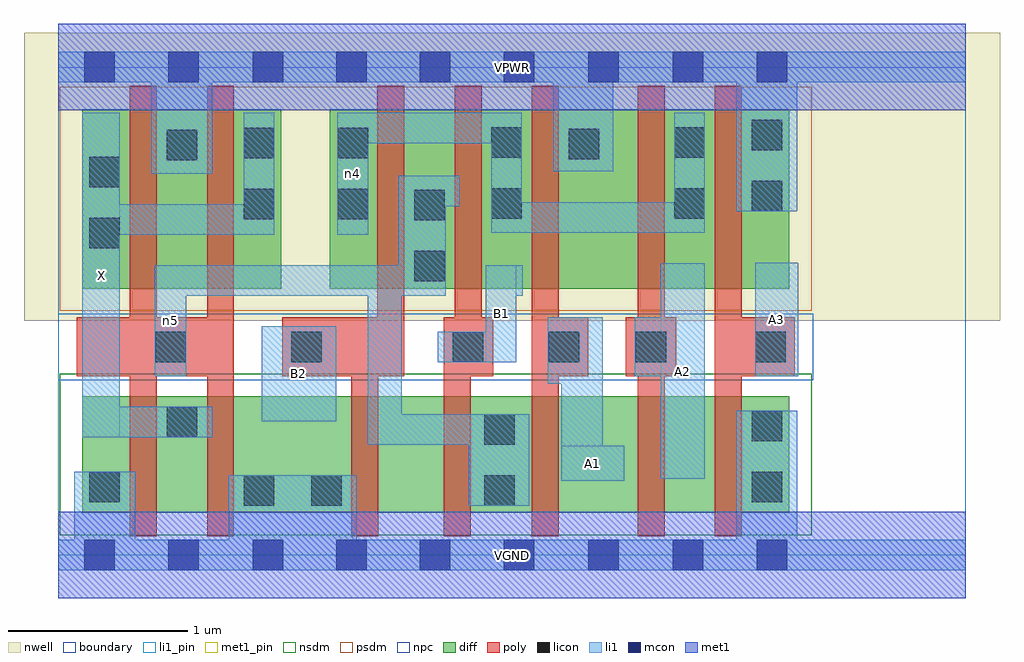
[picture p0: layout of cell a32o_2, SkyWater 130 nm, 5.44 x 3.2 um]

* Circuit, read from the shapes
.subckt a32o_2 A1 A2 A3 B1 B2 VGND VPWR X n4 n5
XM1 X n5 VGND VSUBS sky130_fd_pr__nfet_01v8 w=0.65 l=0.15 m=2
XM2 n1 B2 VGND VSUBS sky130_fd_pr__nfet_01v8 w=0.65 l=0.15
XM3 n5 B1 n1 VSUBS sky130_fd_pr__nfet_01v8 w=0.65 l=0.15
XM4 n2 A1 n5 VSUBS sky130_fd_pr__nfet_01v8 w=0.65 l=0.15
XM5 n3 A2 n2 VSUBS sky130_fd_pr__nfet_01v8 w=0.65 l=0.15
XM6 VGND A3 n3 VSUBS sky130_fd_pr__nfet_01v8 w=0.65 l=0.15
XM7 VPWR n5 X n6 sky130_fd_pr__pfet_01v8 w=1 l=0.15 m=2
XM8 n5 B2 n4 n6 sky130_fd_pr__pfet_01v8 w=1 l=0.15
XM9 n4 B1 n5 n6 sky130_fd_pr__pfet_01v8 w=1 l=0.15
XM10 VPWR A1 n4 n6 sky130_fd_pr__pfet_01v8 w=1 l=0.15
XM11 n4 A2 VPWR n6 sky130_fd_pr__pfet_01v8 w=1 l=0.15
XM12 VPWR A3 n4 n6 sky130_fd_pr__pfet_01v8 w=1 l=0.15
.ends

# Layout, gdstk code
import gdstk
lib = gdstk.Library(unit=1e-6, precision=1e-09)
def R(c, l, rs):  # rectangles x0, y0, x1, y1
    for r in rs: c.add(gdstk.rectangle(r[:2], r[2:], *l))
def A(c, l, x, y, w, h, nx, ny, dx, dy):  # array of equal rectangles
    R(c, l, [(x+i*dx, y+j*dy, x+i*dx+w, y+j*dy+h) for i in range(nx) for j in range(ny)])
nwell = (64, 20)
diff = (65, 20)
poly = (66, 20)
licon = (66, 44)
li1_pin = (67, 16)
li1 = (67, 20)
mcon = (67, 44)
met1_pin = (68, 16)
met1 = (68, 20)
nsdm = (93, 44)
psdm = (94, 20)
npc = (95, 20)
boundary = (235, 4)

a32o_2 = lib.new_cell('a32o_2')
R(a32o_2, nwell, [(-0.19,1.305,5.25,2.91), (0,1.305,5.06,2.91)])
R(a32o_2, diff, [(0.135,0.235,4.075,0.885), (0.135,1.485,1.245,2.485), (1.515,1.485,4.075,2.485)])
R(a32o_2, poly, [(0.4,0.105,0.55,2.615), (0.83,0.105,0.98,2.615), (1.635,0.105,1.785,1.325), (2.15,0.105,2.3,1.325), (2.64,0.105,2.79,2.615), (3.23,0.105,3.38,2.615), (3.66,0.105,3.81,2.615), (0.105,0.995,0.98,1.325), (1.25,0.995,1.93,1.325), (1.78,0.995,1.93,2.615), (2.15,0.995,2.425,1.325), (2.21,0.995,2.36,2.615), (2.64,0.995,2.955,1.325), (3.165,0.995,3.445,1.325), (3.66,0.995,4.105,1.325)])
R(a32o_2, licon, [(1.035,0.275,1.205,0.445), (1.41,0.275,1.58,0.445), (2.375,0.275,2.545,0.445), (0.175,0.295,0.345,0.465), (3.865,0.295,4.035,0.465), (2.375,0.615,2.545,0.785), (3.865,0.635,4.035,0.805), (0.605,0.655,0.775,0.825), (0.545,1.075,0.715,1.245), (1.3,1.075,1.47,1.245), (2.2,1.075,2.37,1.245), (2.735,1.075,2.905,1.245), (3.22,1.075,3.39,1.245), (3.885,1.075,4.055,1.245), (1.985,1.525,2.155,1.695), (0.175,1.71,0.345,1.88), (1.985,1.865,2.155,2.035), (1.035,1.87,1.205,2.04), (1.56,1.87,1.73,2.04), (2.415,1.875,2.585,2.045), (3.435,1.875,3.605,2.045), (3.865,1.915,4.035,2.085), (0.175,2.05,0.345,2.22), (0.605,2.2,0.775,2.37), (2.845,2.205,3.015,2.375), (1.035,2.21,1.205,2.38), (1.56,2.21,1.73,2.38), (2.415,2.215,2.585,2.385), (3.435,2.215,3.605,2.385), (3.865,2.255,4.035,2.425)])
R(a32o_2, li1_pin, [(2.805,0.415,3.155,0.61), (3.36,0.425,3.605,1.625), (0.135,0.655,0.345,2.465), (1.135,0.745,1.55,1.275), (3.885,0.995,4.125,1.63), (2.385,1.075,2.555,1.615)])
R(a32o_2, li1, [(0,-0.085,5.06,0.085), (0.09,-0.085,0.43,0.465), (0.95,-0.085,1.665,0.445), (3.78,-0.085,4.12,0.805), (2.29,0.275,2.625,0.785), (2.805,0.415,3.035,1.325), (2.805,0.415,3.155,0.61), (3.36,0.425,3.605,1.625), (1.725,0.615,1.915,1.615), (1.725,0.615,2.625,0.785), (0.135,0.655,0.345,2.465), (0.135,0.655,0.86,0.825), (1.135,0.745,1.55,1.275), (2.73,0.955,3.035,1.325), (0.54,0.995,0.715,1.615), (3.215,0.995,3.605,1.325), (3.885,0.995,4.125,1.63), (2.115,1.075,2.555,1.245), (2.385,1.075,2.555,1.615), (0.54,1.445,2.16,1.615), (1.9,1.445,2.16,2.115), (2.385,1.445,2.59,1.615), (0.135,1.785,1.205,1.955), (1.035,1.785,1.205,2.465), (1.555,1.785,1.73,2.465), (2.415,1.795,3.605,1.965), (2.415,1.795,2.585,2.465), (3.435,1.795,3.605,2.465), (3.78,1.915,4.12,2.805), (1.9,1.945,2.24,2.115), (0.52,2.125,0.86,2.805), (2.76,2.14,3.095,2.805), (1.555,2.295,2.585,2.465), (0,2.635,5.06,2.805)])
A(a32o_2, mcon, 0.145, -0.085, 0.17, 0.17, 3, 2, 0.47, 2.72)
A(a32o_2, mcon, 2.015, -0.085, 0.17, 0.17, 5, 2, 0.47, 2.72)
R(a32o_2, mcon, [(1.55,-0.085,1.72,0.085), (1.55,2.635,1.72,2.805)])
R(a32o_2, met1_pin, [(0,-0.24,5.06,0.24), (0,2.48,5.06,2.96)])
R(a32o_2, met1, [(0,-0.24,5.06,0.24), (0,2.48,5.06,2.96)])
R(a32o_2, nsdm, [(0.01,0.11,4.2,1.01)])
R(a32o_2, psdm, [(0.01,1.36,4.2,2.61)])
R(a32o_2, npc, [(0,0.975,4.21,1.345)])
R(a32o_2, boundary, [(0,0,5.06,2.72)])
a32o_2.add(gdstk.Label('A1', (2.98,0.512), layer=67, texttype=5))
a32o_2.add(gdstk.Label('A2', (3.482,1.025), layer=67, texttype=5))
a32o_2.add(gdstk.Label('A3', (4.005,1.312), layer=67, texttype=5))
a32o_2.add(gdstk.Label('B1', (2.47,1.345), layer=67, texttype=5))
a32o_2.add(gdstk.Label('B2', (1.342,1.01), layer=67, texttype=5))
a32o_2.add(gdstk.Label('X', (0.24,1.56), layer=67, texttype=5))
a32o_2.add(gdstk.Label('n5', (0.627,1.305), layer=67, texttype=5))
a32o_2.add(gdstk.Label('n4', (1.642,2.125), layer=67, texttype=5))
a32o_2.add(gdstk.Label('VPWR', (2.53,2.72), layer=68, texttype=5))
a32o_2.add(gdstk.Label('VGND', (2.53,0), layer=68, texttype=5))
a32o_2.add(gdstk.Label('A1', (2.98,0.512), layer=67, texttype=16))
a32o_2.add(gdstk.Label('A2', (3.482,1.025), layer=67, texttype=16))
a32o_2.add(gdstk.Label('A3', (4.005,1.312), layer=67, texttype=16))
a32o_2.add(gdstk.Label('B1', (2.47,1.345), layer=67, texttype=16))
a32o_2.add(gdstk.Label('B2', (1.342,1.01), layer=67, texttype=16))
a32o_2.add(gdstk.Label('X', (0.24,1.56), layer=67, texttype=16))
a32o_2.add(gdstk.Label('VPWR', (2.53,2.72), layer=68, texttype=16))
a32o_2.add(gdstk.Label('VGND', (2.53,0), layer=68, texttype=16))

lib.write_gds('a32o_2.gds')
